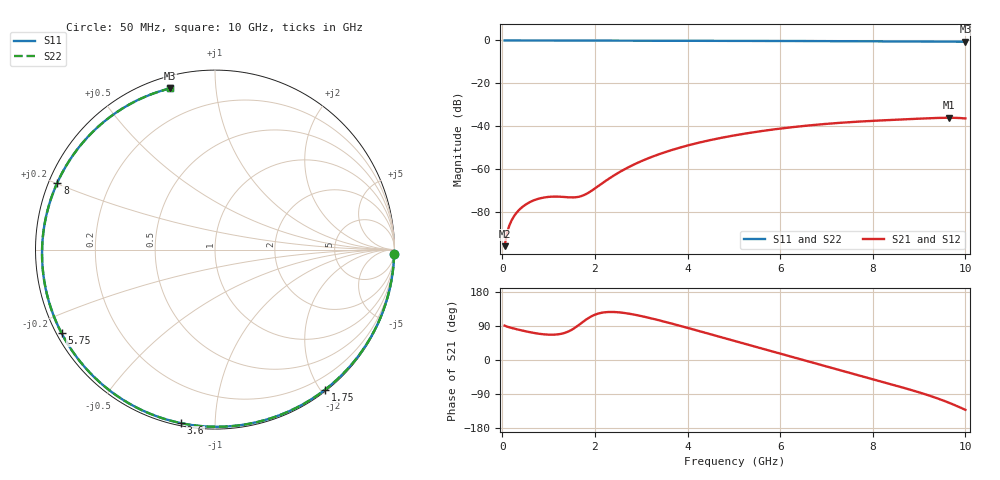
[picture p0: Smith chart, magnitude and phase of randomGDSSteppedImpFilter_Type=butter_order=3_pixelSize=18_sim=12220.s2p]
! freq	dB(S11)	phase(S11)	dB(S12)	phase(S12)
!  dB(S21)	phase(S21)	dB(S22)	phase(S22)
!S-par simulation data
#  GHz  S  DB  R 50
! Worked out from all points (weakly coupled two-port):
!   200 points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, 50 MHz to 10 GHz, reference 50 ohm
!   highest |S21| = -36.05 dB at 9.65 GHz (marker M1); lowest = -95.9 dB at 50 MHz (marker M2)
!   lowest |S11| = -0.6 dB at 10 GHz (marker M3), VSWR 28.63, Z = 2.75 + j37.9 ohm
!   |S11| at or under -10 dB: nowhere
!   |S22| runs from -0.6 to 0.0 dB; largest |S21 - S12| = 0
!   S11 on the Smith chart (normalised r, x): 50 MHz: 4, -78; 1.75 GHz: 0.02, -2.06; 3.6 GHz: 0.01, -0.82; 5.75 GHz: 0.01, -0.25; 8 GHz: 0.02, +0.20; 10 GHz: 0.06, +0.76
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0.05  -0.01 -1.5  -95.92 90.8  -95.92 90.8  -0.01 -1.5
0.3  -0.02 -9.1  -80.55 81.5  -80.55 81.5  -0.02 -9.1
0.55  -0.02 -16.6  -75.91 74.5  -75.91 74.5  -0.02 -16.6
0.85  -0.03 -25.6  -73.45 68.4  -73.45 68.4  -0.03 -25.6
1.1  -0.04 -33.0  -72.81 66.7  -72.81 66.7  -0.04 -33.0
1.55  -0.06 -46.1  -73.17 83.5  -73.17 83.5  -0.06 -46.1
1.75  -0.06 -51.8  -72.22 101.4  -72.22 101.4  -0.06 -51.8
2.2  -0.08 -64.4  -65.96 125.7  -65.96 125.7  -0.08 -64.4
2.65  -0.09 -76.6  -59.96 123.9  -59.96 123.9  -0.09 -76.6
3  -0.11 -85.8  -56.31 116.0  -56.31 116.0  -0.11 -85.8
3.4  -0.12 -96.0  -52.94 104.3  -52.94 104.3  -0.12 -96.0
3.6  -0.13 -101.0  -51.50 98.0  -51.50 98.0  -0.13 -101.0
4.3  -0.16 -118.0  -47.39 74.7  -47.39 74.7  -0.16 -118.0
5.05  -0.19 -135.5  -44.13 49.1  -44.13 49.1  -0.19 -135.5
5.75  -0.23 -151.5  -41.81 25.4  -41.81 25.4  -0.23 -151.5
6.7  -0.30 -172.9  -39.47 -6.9  -39.47 -6.9  -0.30 -172.9
7.35  -0.35 172.2  -38.33 -29.0  -38.33 -29.0  -0.35 172.2
8  -0.41 157.0  -37.49 -50.8  -37.49 -50.8  -0.41 157.0
8.35  -0.44 148.5  -37.12 -62.6  -37.12 -62.6  -0.44 148.5
9  -0.50 132.2  -36.48 -85.3  -36.48 -85.3  -0.50 132.2
9.65  -0.57 115.1  -36.05 -113.0  -36.05 -113.0  -0.57 115.1
10  -0.61 105.5  -36.37 -131.5  -36.37 -131.5  -0.61 105.5
